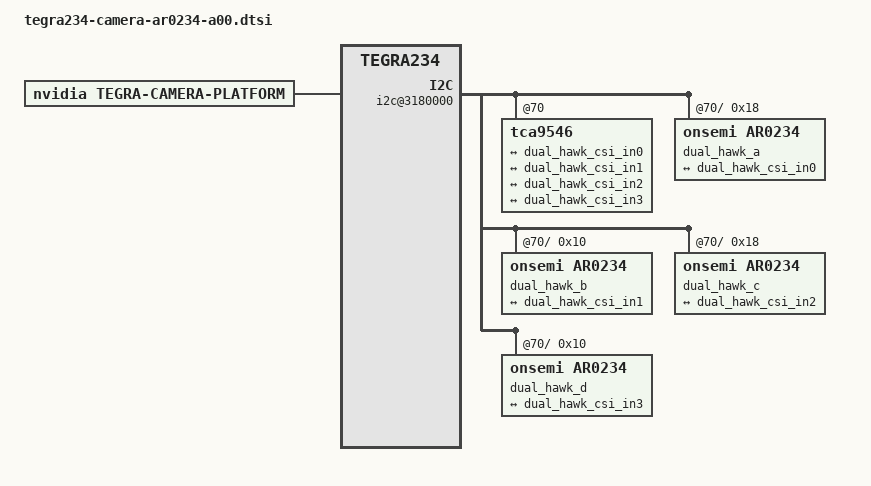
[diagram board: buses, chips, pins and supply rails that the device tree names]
/*
 * Copyright (c) 2018-2023, NVIDIA CORPORATION.  All rights reserved.
 *
 * This program is free software; you can redistribute it and/or modify
 * it under the terms of the GNU General Public License as published by
 * the Free Software Foundation; either version 2 of the License, or
 * (at your option) any later version.
 *
 * This program is distributed in the hope that it will be useful, but WITHOUT
 * ANY WARRANTY; without even the implied warranty of MERCHANTABILITY or
 * FITNESS FOR A PARTICULAR PURPOSE.  See the GNU General Public License for
 * more details.
 *
 * You should have received a copy of the GNU General Public License
 * along with this program.  If not, see <http://www.gnu.org/licenses/>.
 */

/ {

	tegra-capture-vi {
		num-channels = <4>;
		ports {
			#address-cells = <1>;
			#size-cells = <0>;
			port@0 {
				reg = <0>;
				dual_hawk_vi_in0: endpoint {
					vc-id = <0>;
					port-index = <0>;
					bus-width = <2>;
					remote-endpoint = <&dual_hawk_csi_out0>;
				};
			};
			port@1 {
				reg = <1>;
				dual_hawk_vi_in1: endpoint {
					vc-id = <1>;
					port-index = <0>;
					bus-width = <2>;
					remote-endpoint = <&dual_hawk_csi_out1>;
				};
			};
			port@2 {
				reg = <2>;
				dual_hawk_vi_in2: endpoint {
					vc-id = <0>;
					port-index = <1>;
					bus-width = <2>;
					remote-endpoint = <&dual_hawk_csi_out2>;
				};
			};
			port@3 {
				reg = <3>;
				dual_hawk_vi_in3: endpoint {
					vc-id = <1>;
					port-index = <1>;
					bus-width = <2>;
					remote-endpoint = <&dual_hawk_csi_out3>;
				};
			};
		};
	};

	host1x@13e00000 {
		nvcsi@15a00000 {
			num-channels = <4>;
			#address-cells = <1>;
			#size-cells = <0>;
			channel@0 {
				reg = <0>;
				ports {
					#address-cells = <1>;
					#size-cells = <0>;
					port@0 {
						reg = <0>;
						dual_hawk_csi_in0: endpoint@0 {
							port-index = <0>;
							bus-width = <2>;
							remote-endpoint = <&dual_hawk_out0>;
						};
					};
					port@1 {
						reg = <1>;
						dual_hawk_csi_out0: endpoint@1 {
							remote-endpoint = <&dual_hawk_vi_in0>;
						};
					};
				};
			};
			channel@1 {
				reg = <1>;
				ports {
					#address-cells = <1>;
					#size-cells = <0>;
					port@0 {
						reg = <0>;
							dual_hawk_csi_in1: endpoint@2 {
							port-index = <0>;
							bus-width = <2>;
							remote-endpoint = <&dual_hawk_out1>;
						};
					};
					port@1 {
						reg = <1>;
						dual_hawk_csi_out1: endpoint@3 {
							remote-endpoint = <&dual_hawk_vi_in1>;
						};
					};
				};
			};
			channel@2 {
				reg = <2>;
				ports {
					#address-cells = <1>;
					#size-cells = <0>;
					port@0 {
						reg = <0>;
						dual_hawk_csi_in2: endpoint@4 {
							port-index = <1>;
							bus-width = <2>;
							remote-endpoint = <&dual_hawk_out2>;
						};
					};
					port@1 {
						reg = <1>;
						dual_hawk_csi_out2: endpoint@5 {
							remote-endpoint = <&dual_hawk_vi_in2>;
						};
					};
				};
			};
			channel@3 {
				reg = <3>;
				ports {
					#address-cells = <1>;
					#size-cells = <0>;
					port@0 {
						reg = <0>;
						dual_hawk_csi_in3: endpoint@6 {
							port-index = <1>;
							bus-width = <2>;
							remote-endpoint = <&dual_hawk_out3>;
						};
					};
					port@1 {
						reg = <1>;
						dual_hawk_csi_out3: endpoint@7 {
							remote-endpoint = <&dual_hawk_vi_in3>;
						};
					};
				};
			};
		};
	};

	i2c@3180000 {
		tca9546@70 {
			i2c@0 {
			dual_hawk_a@18 {
				compatible = "onsemi,ar0234";

				reg = <0x18>;

				/* Physical dimensions of sensor */
				physical_w = "15.0";
				physical_h = "12.5";

				sensor_model ="ar0234";
				sync_sensor = "HAWK1";
				sync_sensor_index = <1>;
				supports-alt-exp = "true";

				/* Defines number of frames to be dropped by driver internally after applying */
				/* sensor crop settings. Some sensors send corrupt frames after applying */
				/* crop co-ordinates */
				post_crop_frame_drop = "0";

				/* Convert Gain to unit of dB (decibel) befor passing to kernel driver */
				//use_decibel_gain = "true";

				/* enable CID_SENSOR_MODE_ID for sensor modes selection */
				use_sensor_mode_id = "true";

				/**
				* A modeX node is required to support v4l2 driver
				* implementation with NVIDIA camera software stack
				*
				* mclk_khz = "";
				* Standard MIPI driving clock, typically 24MHz
				*
				* num_lanes = "";
				* Number of lane channels sensor is programmed to output
				*
				* tegra_sinterface = "";
				* The base tegra serial interface lanes are connected to
				*
				* vc_id = "";
				* The virtual channel id of the sensor.
				*
				* discontinuous_clk = "";
				* The sensor is programmed to use a discontinuous clock on MIPI lanes
				*
				* dpcm_enable = "true";
				* The sensor is programmed to use a DPCM modes
				*
				* cil_settletime = "";
				* MIPI lane settle time value.
				* A "0" value attempts to autocalibrate based on mclk_khz and pix_clk_hz
				*
				* active_w = "";
				* Pixel active region width
				*
				* active_h = "";
				* Pixel active region height
				*
				* dynamic_pixel_bit_depth = "";
				* sensor dynamic bit depth for sensor mode
				*
				* csi_pixel_bit_depth = "";
				* sensor output bit depth for sensor mode
				*
				* mode_type="";
				* Sensor mode type, For eg: yuv, Rgb, bayer, bayer_wdr_pwl
				*
				* pixel_phase="";
				* Pixel phase for sensor mode, For eg: rggb, vyuy, rgb888
				*
				* readout_orientation = "0";
				* Based on camera module orientation.
				* Only change readout_orientation if you specifically
				* Program a different readout order for this mode
				*
				* line_length = "";
				* Pixel line length (width) for sensor mode.
				* This is used to calibrate features in our camera stack.
				*
				* pix_clk_hz = "";
				* Sensor pixel clock used for calculations like exposure and framerate
				*
				*
				*
				*
				* inherent_gain = "";
				* Gain obtained inherently from mode (ie. pixel binning)
				*
				* min_gain_val = ""; (floor to 6 decimal places)
				* max_gain_val = ""; (floor to 6 decimal places)
				* Gain limits for mode
				* if use_decibel_gain = "true", please set the gain as decibel
				*
				* min_exp_time = ""; (ceil to integer)
				* max_exp_time = ""; (ceil to integer)
				* Exposure Time limits for mode (us)
				*
				*
				* min_hdr_ratio = "";
				* max_hdr_ratio = "";
				* HDR Ratio limits for mode
				*
				* min_framerate = "";
				* max_framerate = "";
				* Framerate limits for mode (fps)
				*
				* embedded_metadata_height = "";
				* Sensor embedded metadata height in units of rows.
				* If sensor does not support embedded metadata value should be 0.
				*/

				mode0 {/*mode IMX424_MODE_3840X1080_CROP_30FPS*/
					mclk_khz = "24000";
					num_lanes = "2";
					tegra_sinterface = "serial_a";
					phy_mode = "DPHY";
					vc_id = "0";
					discontinuous_clk = "no";
					dpcm_enable = "false";
					cil_settletime = "0";
					dynamic_pixel_bit_depth = "10";
					csi_pixel_bit_depth = "10";
					mode_type = "bayer";
					pixel_phase = "grbg";

					active_w = "1920";
					active_h = "1200";
					readout_orientation = "0";
					line_length = "2448";
					inherent_gain = "1";
					mclk_multiplier = "3.01";
					pix_clk_hz = "134400000";
					serdes_pix_clk_hz = "299000000";

					gain_factor = "100";
					min_gain_val = "100"; /* dB */
					max_gain_val = "1600"; /* dB */
					step_gain_val = "1"; /* 0.1 */
					default_gain = "100";
					min_hdr_ratio = "1";
					max_hdr_ratio = "1";
					framerate_factor = "1000000";
					min_framerate = "30000000";
					max_framerate = "30000000";
					step_framerate = "30000000";
					default_framerate = "30000000";
					exposure_factor = "1000000";
					min_exp_time = "28"; /*us, 2 lines*/
					max_exp_time = "22000";
					step_exp_time = "1";
					default_exp_time = "22000";/* us */
					embedded_metadata_height = "0";
				};

				ports {
					#address-cells = <1>;
					#size-cells = <0>;
					port@0 {
						reg = <0>;
						dual_hawk_out0: endpoint {
							vc-id = <0>;
							port-index = <0>;
							bus-width = <2>;
							remote-endpoint = <&dual_hawk_csi_in0>;
							};
						};
					};
				};

			dual_hawk_b@10 {
				compatible = "onsemi,ar0234";

				reg = <0x10>;

				/* Physical dimensions of sensor */
				physical_w = "15.0";
				physical_h = "12.5";

				sensor_model ="ar0234";

				sync_sensor = "HAWK1";
				sync_sensor_index = <2>;
				supports-alt-exp = "true";
				/* Defines number of frames to be dropped by driver internally after applying */
				/* sensor crop settings. Some sensors send corrupt frames after applying */
				/* crop co-ordinates */
				post_crop_frame_drop = "0";

				/* Convert Gain to unit of dB (decibel) befor passing to kernel driver */
				//use_decibel_gain = "true";

				/* enable CID_SENSOR_MODE_ID for sensor modes selection */
				use_sensor_mode_id = "true";

				/**
				* A modeX node is required to support v4l2 driver
				* implementation with NVIDIA camera software stack
				*
				* mclk_khz = "";
				* Standard MIPI driving clock, typically 24MHz
				*
				* num_lanes = "";
				* Number of lane channels sensor is programmed to output
				*
				* tegra_sinterface = "";
				* The base tegra serial interface lanes are connected to
				*
				* vc_id = "";
				* The virtual channel id of the sensor.
				*
				* discontinuous_clk = "";
				* The sensor is programmed to use a discontinuous clock on MIPI lanes
				*
				* dpcm_enable = "true";
				* The sensor is programmed to use a DPCM modes
				*
				* cil_settletime = "";
				* MIPI lane settle time value.
				* A "0" value attempts to autocalibrate based on mclk_khz and pix_clk_hz
				*
				* active_w = "";
				* Pixel active region width
				*
				* active_h = "";
				* Pixel active region height
				*
				* dynamic_pixel_bit_depth = "";
				* sensor dynamic bit depth for sensor mode
				*
				* csi_pixel_bit_depth = "";
				* sensor output bit depth for sensor mode
				*
				* mode_type="";
				* Sensor mode type, For eg: yuv, Rgb, bayer, bayer_wdr_pwl
				*
				* pixel_phase="";
				* Pixel phase for sensor mode, For eg: rggb, vyuy, rgb888
				*
				* readout_orientation = "0";
				* Based on camera module orientation.
				* Only change readout_orientation if you specifically
				* Program a different readout order for this mode
				*
				* line_length = "";
				* Pixel line length (width) for sensor mode.
				* This is used to calibrate features in our camera stack.
				*
				* pix_clk_hz = "";
				* Sensor pixel clock used for calculations like exposure and framerate
				*
				*
				*
				*
				* inherent_gain = "";
				* Gain obtained inherently from mode (ie. pixel binning)
				*
				* min_gain_val = ""; (floor to 6 decimal places)
				* max_gain_val = ""; (floor to 6 decimal places)
				* Gain limits for mode
				* if use_decibel_gain = "true", please set the gain as decibel
				*
				* min_exp_time = ""; (ceil to integer)
				* max_exp_time = ""; (ceil to integer)
				* Exposure Time limits for mode (us)
				*
				*
				* min_hdr_ratio = "";
				* max_hdr_ratio = "";
				* HDR Ratio limits for mode
				*
				* min_framerate = "";
				* max_framerate = "";
				* Framerate limits for mode (fps)
				*
				* embedded_metadata_height = "";
				* Sensor embedded metadata height in units of rows.
				* If sensor does not support embedded metadata value should be 0.
				*/

				mode0 {/*mode IMX424_MODE_3840X1080_CROP_30FPS*/
					mclk_khz = "24000";
					num_lanes = "2";
					tegra_sinterface = "serial_a";
					vc_id = "1";
					discontinuous_clk = "no";
					dpcm_enable = "false";
					cil_settletime = "0";
					dynamic_pixel_bit_depth = "10";
					csi_pixel_bit_depth = "10";
					mode_type = "bayer";
					pixel_phase = "grbg";

					active_w = "1920";
					active_h = "1200";
					readout_orientation = "0";
					line_length = "2448";
					inherent_gain = "1";
					mclk_multiplier = "3.01";
					pix_clk_hz = "134400000";
					serdes_pix_clk_hz = "299000000";

					gain_factor = "100";
					min_gain_val = "100"; /* dB */
					max_gain_val = "1600"; /* dB */
					step_gain_val = "1"; /* 0.1 */
					default_gain = "100";
					min_hdr_ratio = "1";
					max_hdr_ratio = "1";
					framerate_factor = "1000000";
					min_framerate = "30000000";
					max_framerate = "30000000";
					step_framerate = "30000000";
					default_framerate = "30000000";
					exposure_factor = "1000000";
					min_exp_time = "28"; /*us, 2 lines*/
					max_exp_time = "22000";
					step_exp_time = "1";
					default_exp_time = "22000";/* us */
					embedded_metadata_height = "0";
				};

				ports {
					#address-cells = <1>;
					#size-cells = <0>;
					port@0 {
						reg = <0>;
						dual_hawk_out1: endpoint {
							vc-id = <1>;
							port-index = <0>;
							bus-width = <2>;
							remote-endpoint = <&dual_hawk_csi_in1>;
							};
						};
					};
				};
			};
			i2c@1 {
			dual_hawk_c@18 {
				compatible = "onsemi,ar0234";

				reg = <0x18>;

				/* Physical dimensions of sensor */
				physical_w = "15.0";
				physical_h = "12.5";

				sensor_model ="ar0234";
				sync_sensor = "HAWK2";
				sync_sensor_index = <1>;
				supports-alt-exp = "true";
				/* Defines number of frames to be dropped by driver internally after applying */
				/* sensor crop settings. Some sensors send corrupt frames after applying */
				/* crop co-ordinates */
				post_crop_frame_drop = "0";

				/* Convert Gain to unit of dB (decibel) befor passing to kernel driver */
				//use_decibel_gain = "true";

				/* enable CID_SENSOR_MODE_ID for sensor modes selection */
				use_sensor_mode_id = "true";

				/**
				* A modeX node is required to support v4l2 driver
				* implementation with NVIDIA camera software stack
				*
				* mclk_khz = "";
				* Standard MIPI driving clock, typically 24MHz
				*
				* num_lanes = "";
				* Number of lane channels sensor is programmed to output
				*
				* tegra_sinterface = "";
				* The base tegra serial interface lanes are connected to
				*
				* vc_id = "";
				* The virtual channel id of the sensor.
				*
				* discontinuous_clk = "";
				* The sensor is programmed to use a discontinuous clock on MIPI lanes
				*
				* dpcm_enable = "true";
				* The sensor is programmed to use a DPCM modes
				*
				* cil_settletime = "";
				* MIPI lane settle time value.
				* A "0" value attempts to autocalibrate based on mclk_khz and pix_clk_hz
				*
				* active_w = "";
				* Pixel active region width
				*
				* active_h = "";
				* Pixel active region height
				*
				* dynamic_pixel_bit_depth = "";
				* sensor dynamic bit depth for sensor mode
				*
				* csi_pixel_bit_depth = "";
				* sensor output bit depth for sensor mode
				*
				* mode_type="";
				* Sensor mode type, For eg: yuv, Rgb, bayer, bayer_wdr_pwl
				*
				* pixel_phase="";
				* Pixel phase for sensor mode, For eg: rggb, vyuy, rgb888
				*
				* readout_orientation = "0";
				* Based on camera module orientation.
				* Only change readout_orientation if you specifically
				* Program a different readout order for this mode
				*
				* line_length = "";
				* Pixel line length (width) for sensor mode.
				* This is used to calibrate features in our camera stack.
				*
				* pix_clk_hz = "";
				* Sensor pixel clock used for calculations like exposure and framerate
				*
				*
				*
				*
				* inherent_gain = "";
				* Gain obtained inherently from mode (ie. pixel binning)
				*
				* min_gain_val = ""; (floor to 6 decimal places)
				* max_gain_val = ""; (floor to 6 decimal places)
				* Gain limits for mode
				* if use_decibel_gain = "true", please set the gain as decibel
				*
				* min_exp_time = ""; (ceil to integer)
				* max_exp_time = ""; (ceil to integer)
				* Exposure Time limits for mode (us)
				*
				*
				* min_hdr_ratio = "";
				* max_hdr_ratio = "";
				* HDR Ratio limits for mode
				*
				* min_framerate = "";
				* max_framerate = "";
				* Framerate limits for mode (fps)
				*
				* embedded_metadata_height = "";
				* Sensor embedded metadata height in units of rows.
				* If sensor does not support embedded metadata value should be 0.
				*/

				mode0 {/*mode IMX424_MODE_3840X1080_CROP_30FPS*/
					mclk_khz = "24000";
					num_lanes = "2";
					tegra_sinterface = "serial_b";
					vc_id = "0";
					discontinuous_clk = "no";
					dpcm_enable = "false";
					cil_settletime = "0";
					dynamic_pixel_bit_depth = "10";
					csi_pixel_bit_depth = "10";
					mode_type = "bayer";
					pixel_phase = "grbg";

					active_w = "1920";
					active_h = "1200";
					readout_orientation = "0";
					line_length = "2448";
					inherent_gain = "1";
					mclk_multiplier = "3.01";
					pix_clk_hz = "134400000";
					serdes_pix_clk_hz = "299000000";

					gain_factor = "100";
					min_gain_val = "100"; /* dB */
					max_gain_val = "1600"; /* dB */
					step_gain_val = "1"; /* 0.1 */
					default_gain = "100";
					min_hdr_ratio = "1";
					max_hdr_ratio = "1";
					framerate_factor = "1000000";
					min_framerate = "30000000";
					max_framerate = "30000000";
					step_framerate = "30000000";
					default_framerate = "30000000";
					exposure_factor = "1000000";
					min_exp_time = "28"; /*us, 2 lines*/
					max_exp_time = "22000";
					step_exp_time = "1";
					default_exp_time = "22000";/* us */
					embedded_metadata_height = "0";
				};

				ports {
					#address-cells = <1>;
					#size-cells = <0>;
					port@0 {
						reg = <0>;
						dual_hawk_out2: endpoint {
							vc-id = <0>;
							port-index = <1>;
							bus-width = <2>;
							remote-endpoint = <&dual_hawk_csi_in2>;
							};
						};
					};
				};

			dual_hawk_d@10 {
				compatible = "onsemi,ar0234";

				reg = <0x10>;

				/* Physical dimensions of sensor */
				physical_w = "15.0";
				physical_h = "12.5";

				sensor_model ="ar0234";

				sync_sensor = "HAWK2";
				sync_sensor_index = <2>;
				supports-alt-exp = "true";
				/* Defines number of frames to be dropped by driver internally after applying */
				/* sensor crop settings. Some sensors send corrupt frames after applying */
				/* crop co-ordinates */
				post_crop_frame_drop = "0";

				/* Convert Gain to unit of dB (decibel) befor passing to kernel driver */
				//use_decibel_gain = "true";

				/* enable CID_SENSOR_MODE_ID for sensor modes selection */
				use_sensor_mode_id = "true";

				/**
				* A modeX node is required to support v4l2 driver
				* implementation with NVIDIA camera software stack
				*
				* mclk_khz = "";
				* Standard MIPI driving clock, typically 24MHz
				*
				* num_lanes = "";
				* Number of lane channels sensor is programmed to output
				*
				* tegra_sinterface = "";
				* The base tegra serial interface lanes are connected to
				*
				* vc_id = "";
				* The virtual channel id of the sensor.
				*
				* discontinuous_clk = "";
				* The sensor is programmed to use a discontinuous clock on MIPI lanes
				*
				* dpcm_enable = "true";
				* The sensor is programmed to use a DPCM modes
				*
				* cil_settletime = "";
				* MIPI lane settle time value.
				* A "0" value attempts to autocalibrate based on mclk_khz and pix_clk_hz
				*
				* active_w = "";
				* Pixel active region width
				*
				* active_h = "";
				* Pixel active region height
				*
				* dynamic_pixel_bit_depth = "";
				* sensor dynamic bit depth for sensor mode
				*
				* csi_pixel_bit_depth = "";
				* sensor output bit depth for sensor mode
				*
				* mode_type="";
				* Sensor mode type, For eg: yuv, Rgb, bayer, bayer_wdr_pwl
				*
				* pixel_phase="";
				* Pixel phase for sensor mode, For eg: rggb, vyuy, rgb888
				*
				* readout_orientation = "0";
				* Based on camera module orientation.
				* Only change readout_orientation if you specifically
				* Program a different readout order for this mode
				*
				* line_length = "";
				* Pixel line length (width) for sensor mode.
				* This is used to calibrate features in our camera stack.
				*
				* pix_clk_hz = "";
				* Sensor pixel clock used for calculations like exposure and framerate
				*
				*
				*
				*
				* inherent_gain = "";
				* Gain obtained inherently from mode (ie. pixel binning)
				*
				* min_gain_val = ""; (floor to 6 decimal places)
				* max_gain_val = ""; (floor to 6 decimal places)
				* Gain limits for mode
				* if use_decibel_gain = "true", please set the gain as decibel
				*
				* min_exp_time = ""; (ceil to integer)
				* max_exp_time = ""; (ceil to integer)
				* Exposure Time limits for mode (us)
				*
				*
				* min_hdr_ratio = "";
				* max_hdr_ratio = "";
				* HDR Ratio limits for mode
				*
				* min_framerate = "";
				* max_framerate = "";
				* Framerate limits for mode (fps)
				*
				* embedded_metadata_height = "";
				* Sensor embedded metadata height in units of rows.
				* If sensor does not support embedded metadata value should be 0.
				*/

				mode0 {/*mode IMX424_MODE_3840X1080_CROP_30FPS*/
					mclk_khz = "24000";
					num_lanes = "2";
					tegra_sinterface = "serial_b";
					vc_id = "1";
					discontinuous_clk = "no";
					dpcm_enable = "false";
					cil_settletime = "0";
					dynamic_pixel_bit_depth = "10";
					csi_pixel_bit_depth = "10";
					mode_type = "bayer";
					pixel_phase = "grbg";

					active_w = "1920";
					active_h = "1200";
					readout_orientation = "0";
					line_length = "2448";
					inherent_gain = "1";
					mclk_multiplier = "3.01";
					pix_clk_hz = "134400000";
					serdes_pix_clk_hz = "299000000";

					gain_factor = "100";
					min_gain_val = "100"; /* dB */
					max_gain_val = "1600"; /* dB */
					step_gain_val = "1"; /* 0.1 */
					default_gain = "100";
					min_hdr_ratio = "1";
					max_hdr_ratio = "1";
					framerate_factor = "1000000";
					min_framerate = "30000000";
					max_framerate = "30000000";
					step_framerate = "30000000";
					default_framerate = "30000000";
					exposure_factor = "1000000";
					min_exp_time = "28"; /*us, 2 lines*/
					max_exp_time = "22000";
					step_exp_time = "1";
					default_exp_time = "22000";/* us */
					embedded_metadata_height = "0";
				};

				ports {
					#address-cells = <1>;
					#size-cells = <0>;
					port@0 {
						reg = <0>;
						dual_hawk_out3: endpoint {
							vc-id = <1>;
							port-index = <1>;
							bus-width = <2>;
							remote-endpoint = <&dual_hawk_csi_in3>;
							};
						};
					};
				};
			};
		};
	};
};
/ {

	tegra-camera-platform {
		compatible = "nvidia, tegra-camera-platform";
		/**
		* Physical settings to calculate max ISO BW
		*
		* num_csi_lanes = <>;
		* Total number of CSI lanes when all cameras are active
		*
		* max_lane_speed = <>;
		* Max lane speed in Kbit/s
		*
		* min_bits_per_pixel = <>;
		* Min bits per pixel
		*
		* vi_peak_byte_per_pixel = <>;
		* Max byte per pixel for the VI ISO case
		*
		* vi_bw_margin_pct = <>;
		* Vi bandwidth margin in percentage
		*
		* max_pixel_rate = <>;
		* Max pixel rate in Kpixel/s for the ISP ISO case
		*
		* isp_peak_byte_per_pixel = <>;
		* Max byte per pixel for the ISP ISO case
		*
		* isp_bw_margin_pct = <>;
		* Isp bandwidth margin in percentage
		*/
		num_csi_lanes = <2>;
		max_lane_speed = <15000000>;
		min_bits_per_pixel = <10>;
		vi_peak_byte_per_pixel = <2>;
		vi_bw_margin_pct = <25>;
		isp_peak_byte_per_pixel = <5>;
		isp_bw_margin_pct = <25>;

		/**
		 * The general guideline for naming badge_info contains 3 parts, and is as follows,
		 * The first part is the camera_board_id for the module; if the module is in a FFD
		 * platform, then use the platform name for this part.
		 * The second part contains the position of the module, ex. "rear" or "front".
		 * The third part contains the last 6 characters of a part number which is found
		 * in the module's specsheet from the vender.
		 */
		modules {
			module0 {
				badge = "dual_hawk_bottomleft";
				position = "bottomleft";
				orientation = "1";
				drivernode0 {
					/* Declare PCL support driver (classically known as guid)  */
					pcl_id = "v4l2_sensor";
					/* Driver v4l2 device name */
					devname = "ar0234 30-0018";
					/* Declare the device-tree hierarchy to driver instance */
					proc-device-tree = "/proc/device-tree/i2c@3180000/tca9546@70/i2c@0/dual_hawk_a@18";
				};
			};
			module1 {
				badge = "dual_hawk_bottomright";
				position = "bottomright";
				orientation = "1";
				drivernode0 {
					/* Declare PCL support driver (classically known as guid)  */
					pcl_id = "v4l2_sensor";
					/* Driver v4l2 device name */
					devname = "ar0234 30-0010";
					/* Declare the device-tree hierarchy to driver instance */
					proc-device-tree = "/proc/device-tree/i2c@3180000/tca9546@70/i2c@0/dual_hawk_b@10";
					};
			};
			module2 {
				badge = "dual_hawk_centerleft";
				position = "centerleft";
				orientation = "1";
				drivernode0 {
					/* Declare PCL support driver (classically known as guid)  */
					pcl_id = "v4l2_sensor";
					/* Driver v4l2 device name */
					 devname = "ar0234 31-0018";
					proc-device-tree = "/proc/device-tree/i2c@3180000/tca9546@70/i2c@1/dual_hawk_c@18";
				};
			};
			module3 {
				badge = "dual_hawk_centerright";
				position = "centerright";
				orientation = "1";
				drivernode0 {
					 /* Declare PCL support driver (classically known as guid)  */
					pcl_id = "v4l2_sensor";
					/* Driver v4l2 device name */
					devname = "ar0234 31-0010";
					/* Declare the device-tree hierarchy to driver instance */
					proc-device-tree = "/proc/device-tree/i2c@3180000/tca9546@70/i2c@1/dual_hawk_d@10";
				};
			};
		};
	};
};
